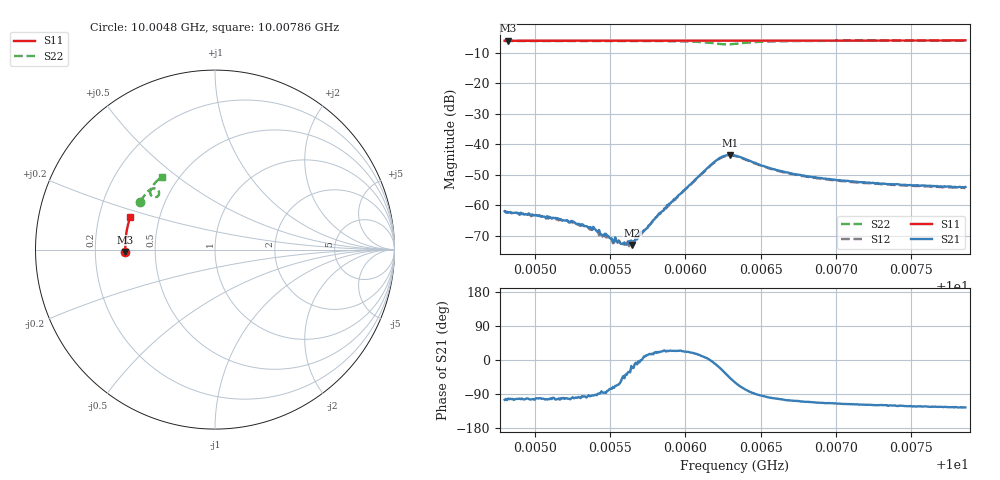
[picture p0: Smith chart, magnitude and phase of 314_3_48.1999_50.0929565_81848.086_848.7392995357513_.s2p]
#  HZ  S  RI  R  50.00
! Rohde & Schwarz Vector Network Analyzer
! Rohde-Schwarz,ZNB20-2Port,1311601062101988,3.16
! Created: UTC 3/20/2024, 11:50:07 AM
! freq[Hz]  re:S11  im:S11  re:S21  im:S21  re:S12  im:S12  re:S22  im:S22
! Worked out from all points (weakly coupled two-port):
!   401 points, 10.0048 GHz to 10.00786 GHz, reference 50 ohm
!   highest |S21| = -43.50 dB at 10.0063 GHz (marker M1); lowest = -73.0 dB at 10.00565 GHz (marker M2)
!   lowest |S11| = -6.0 dB at 10.00482 GHz (marker M3), VSWR 2.99, Z = 16.7 - j0.603 ohm
!   |S11| at or under -10 dB: nowhere
!   |S22| runs from -7.2 to -6.0 dB; largest |S21 - S12| = 0.00038
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1.0004801e10  -0.499 -0.015  -0.000209 -0.000772  -0.000158 -0.000796  -0.416 0.2663
1.0004824e10  -0.499 -0.0136  -0.000153 -0.000748  -0.000126 -0.00075  -0.4151 0.2676
1.0005015e10  -0.4997 -0.00112  -0.000129 -0.000672  -0.000127 -0.000669  -0.4084 0.2789
1.0005138e10  -0.4999 0.00693  -0.000153 -0.000604  -9.61e-05 -0.000591  -0.4037 0.2862
1.0005313e10  -0.5 0.0184  -4.67e-05 -0.000487  -4.39e-05 -0.000483  -0.3969 0.2965
1.0005382e10  -0.5 0.0228  -2.47e-05 -0.000396  -1.37e-05 -0.000394  -0.3937 0.3007
1.0005451e10  -0.4998 0.0272  2.26e-05 -0.000326  9.2e-06 -0.000307  -0.3907 0.305
1.0005481e10  -0.4997 0.0292  4.79e-05 -0.000315  5.87e-05 -0.000292  -0.3891 0.3068
1.0005512e10  -0.4997 0.0312  6.73e-05 -0.000278  0.000104 -0.000251  -0.3877 0.3086
1.000555e10  -0.4995 0.0337  0.000106 -0.000232  9.33e-05 -0.000223  -0.3858 0.3109
1.0005588e10  -0.4995 0.0362  0.000175 -0.000158  0.000174 -0.000162  -0.3838 0.3134
1.000565e10  -0.4994 0.0401  0.000208 -8.14e-05  0.000233 -6.81e-05  -0.3805 0.3173
1.0005734e10  -0.499 0.0456  0.000391 6.35e-05  0.000381 7.43e-05  -0.3754 0.3227
1.0005825e10  -0.4986 0.0514  0.000687 0.00025  0.000651 0.000285  -0.3689 0.3284
1.0006192e10  -0.496 0.0751  0.00505 -0.000777  0.00501 -0.000487  -0.3144 0.3271
1.0006246e10  -0.4953 0.0783  0.00559 -0.00284  0.00559 -0.00258  -0.3121 0.3084
1.0006299e10  -0.495 0.0815  0.00443 -0.00501  0.00458 -0.00469  -0.3254 0.2932
1.000633e10  -0.4948 0.0834  0.00331 -0.0056  0.00355 -0.00537  -0.3361 0.2911
1.0006574e10  -0.4929 0.099  -0.000715 -0.00391  -0.000529 -0.00387  -0.3603 0.3282
1.0006842e10  -0.4897 0.1159  -0.00105 -0.0027  -0.000931 -0.00268  -0.3488 0.3528
1.0007354e10  -0.4822 0.1482  -0.00111 -0.00193  -0.001 -0.00196  -0.3235 0.3827
1.0007858e10  -0.4727 0.1793  -0.00115 -0.00164  -0.00102 -0.00162  -0.2978 0.406
